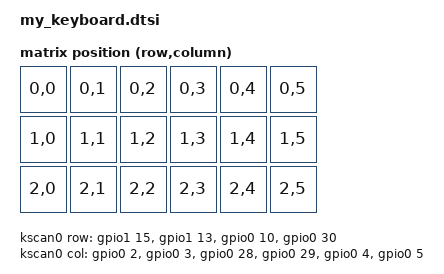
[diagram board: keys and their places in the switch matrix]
#include <dt-bindings/zmk/matrix_transform.h> // Put this with the other includes at the top of your dtsi

/ {
    kscan0: kscan {
        compatible = "zmk,kscan-gpio-matrix";
        diode-direction = "col2row";
        col-gpios = <&gpio0 2>, <&gpio0 3>, <&gpio0 28>, <&gpio0 29>, <&gpio0 4>, <&gpio0 5>;
        row-gpios = <&gpio1 15>, <&gpio1 13>, <&gpio0 10>, <&gpio0 30>;
    };

    default_transform: keymap_transform0 {
        compatible = "zmk,matrix-transform";
        columns = <6>;
        rows = <3>;
        map = <
        //  LKey 1 |LKey 2 |LKey 3      RKey 1 |RKey 2 |RKey 3
            RC(0,0) RC(0,1) RC(0,2)     RC(0,3) RC(0,4) RC(0,5)
        //  LKey 4 |LKey 5 |LKey 6      RKey 4 |RKey 5 |RKey 6
            RC(1,0) RC(1,1) RC(1,2)     RC(1,3) RC(1,4) RC(1,5)
        //  LKey 7 |LKey 8 |LKey 9      RKey 7 |RKey 8 |RKey 9
            RC(2,0) RC(2,1) RC(2,2)     RC(2,3) RC(2,4) RC(2,5)
        >;
    };

    split: split {
        compatible = "zmk,split-i2c";
    };

    &i2c0 {
        status = "okay";
        sda-pin = <&gpio0 6>; // D4
        scl-pin = <&gpio0 7>; // D5
    };
};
